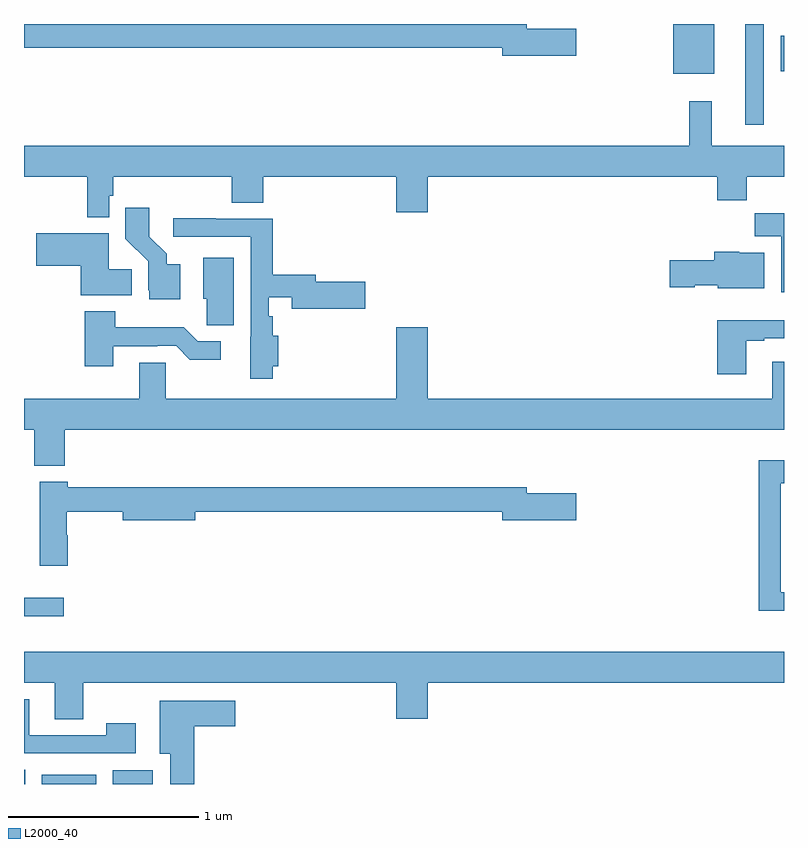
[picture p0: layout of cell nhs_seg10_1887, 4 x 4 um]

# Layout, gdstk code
import gdstk
lib = gdstk.Library(unit=1e-6, precision=1e-09)
def R(c, l, rs):  # rectangles x0, y0, x1, y1
    for r in rs: c.add(gdstk.rectangle(r[:2], r[2:], *l))
def P(c, l, *ps):  # polygons
    for p in ps: c.add(gdstk.Polygon(p, *l))
L2000_40 = (2000, 40)

nhs_seg10_1887 = lib.new_cell('nhs_seg10_1887')
R(nhs_seg10_1887, L2000_40, [(211,1250.5,211.006,1250.576), (211.094,1250.5,211.381,1250.548), (211.466,1250.5,211.678,1250.572), (211,1251.384,211.21,1251.48), (214.796,1253.97,214.893,1254.5), (214.418,1254.239,214.633,1254.5), (214.982,1254.251,215,1254.439)])
P(nhs_seg10_1887, L2000_40, [(213.907,1254.476),(213.646,1254.476),(213.646,1254.5),(211,1254.5),(211,1254.376),(213.518,1254.376),(213.518,1254.334),(213.907,1254.334)],
  [(211.449,1253.595),(211.469,1253.595),(211.469,1253.696),(212.093,1253.696),(212.093,1253.56),(212.258,1253.56),(212.258,1253.696),(212.96,1253.696),(212.96,1253.508),(213.124,1253.508),(213.124,1253.696),(214.649,1253.696),(214.649,1253.572),(214.805,1253.572),(214.805,1253.696),(215,1253.696),(215,1253.86),(214.619,1253.86),(214.619,1254.094),(214.501,1254.094),(214.501,1253.86),(211,1253.86),(211,1253.696),(211.333,1253.696),(211.333,1253.483),(211.449,1253.483)],
  [(211.822,1253.236),(211.75,1253.236),(211.75,1253.291),(211.66,1253.381),(211.66,1253.533),(211.534,1253.533),(211.534,1253.37),(211.653,1253.251),(211.653,1253.1),(211.658,1253.1),(211.658,1253.051),(211.822,1253.051)],
  [(215,1253.503),(214.846,1253.503),(214.846,1253.384),(214.985,1253.384),(214.985,1253.088),(215,1253.088)],
  [(212.309,1252.7),(212.339,1252.7),(212.339,1252.858),(212.309,1252.858),(212.309,1252.961),(212.289,1252.961),(212.289,1253.063),(212.408,1253.063),(212.408,1253.002),(212.797,1253.002),(212.797,1253.144),(212.536,1253.144),(212.536,1253.18),(212.309,1253.18),(212.309,1253.475),(212.009,1253.475),(212.009,1253.478),(211.785,1253.478),(211.785,1253.379),(212.193,1253.379),(212.193,1252.854),(212.192,1252.854),(212.192,1252.632),(212.309,1252.632)],
  [(211.568,1253.21),(211.447,1253.21),(211.447,1253.398),(211.065,1253.398),(211.065,1253.228),(211.298,1253.228),(211.298,1253.072),(211.568,1253.072)],
  [(214.897,1253.296),(214.764,1253.296),(214.764,1253.302),(214.634,1253.302),(214.634,1253.256),(214.398,1253.256),(214.398,1253.114),(214.53,1253.114),(214.53,1253.126),(214.65,1253.126),(214.65,1253.108),(214.897,1253.108)],
  [(212.104,1253.269),(211.943,1253.269),(211.943,1253.055),(211.962,1253.055),(211.962,1252.915),(212.104,1252.915)],
  [(211.471,1252.803),(211.7,1252.803),(211.7,1252.806),(211.8,1252.806),(211.873,1252.733),(212.035,1252.733),(212.035,1252.83),(211.914,1252.83),(211.841,1252.903),(211.479,1252.903),(211.479,1252.987),(211.319,1252.987),(211.319,1252.698),(211.471,1252.698)],
  [(214.801,1252.833),(214.897,1252.833),(214.897,1252.845),(215,1252.845),(215,1252.942),(214.649,1252.942),(214.649,1252.656),(214.801,1252.656)],
  [(211,1252.364),(211.054,1252.364),(211.054,1252.175),(211.214,1252.175),(211.214,1252.364),(215,1252.364),(215,1252.723),(214.937,1252.723),(214.937,1252.528),(213.124,1252.528),(213.124,1252.903),(212.96,1252.903),(212.96,1252.528),(211.746,1252.528),(211.746,1252.718),(211.607,1252.718),(211.607,1252.528),(211,1252.528)],
  [(215,1251.51),(214.984,1251.51),(214.984,1252.083),(215,1252.083),(215,1252.204),(214.866,1252.204),(214.866,1251.413),(215,1251.413)],
  [(211.229,1251.809),(211.224,1251.809),(211.224,1251.934),(211.52,1251.934),(211.52,1251.887),(211.9,1251.887),(211.9,1251.934),(213.518,1251.934),(213.518,1251.887),(213.907,1251.887),(213.907,1252.029),(213.646,1252.029),(213.646,1252.063),(211.229,1252.063),(211.229,1252.09),(211.082,1252.09),(211.082,1251.648),(211.229,1251.648)],
  [(211.311,1251.032),(212.96,1251.032),(212.96,1250.844),(213.124,1250.844),(213.124,1251.032),(215,1251.032),(215,1251.196),(211,1251.196),(211,1251.032),(211.163,1251.032),(211.163,1250.842),(211.311,1250.842)],
  [(211.588,1250.821),(211.432,1250.821),(211.432,1250.757),(211.027,1250.757),(211.027,1250.947),(211,1250.947),(211,1250.661),(211.588,1250.661)],
  [(211.895,1250.804),(212.113,1250.804),(212.113,1250.938),(211.715,1250.938),(211.715,1250.66),(211.769,1250.66),(211.769,1250.5),(211.895,1250.5)])

lib.write_gds('nhs_seg10_1887.gds')
